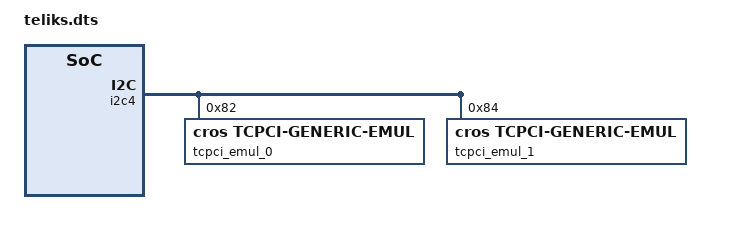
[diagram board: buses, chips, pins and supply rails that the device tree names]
/* Copyright 2024 The ChromiumOS Authors
 * Use of this source code is governed by a BSD-style license that can be
 * found in the LICENSE file.
 */

#include <it8xxx2_emul.dts>

#include "../program/nissa/cbi.dtsi"
#include "../program/nissa/teliks/cbi.dtsi"
#include "../program/nissa/teliks/motionsense.dtsi"

/ {
	named-gpios {
		compatible = "named-gpios";

		gpio_ec_entering_rw: ec_entering_rw {
			gpios = <&gpioc 7 GPIO_OUTPUT>;
			enum-name = "GPIO_ENTERING_RW";
		};
		gpio_en_usb_c0_cc1_vconn: en_usb_c0_cc1_vconn {
			gpios = <&gpioh 4 GPIO_OUTPUT>;
		};
		gpio_en_usb_c0_cc2_vconn: en_usb_c0_cc2_vconn {
			gpios = <&gpioh 6 GPIO_OUTPUT>;
		};
		gpio_usb_c0_int_odl: usb_c0_int_odl {
			gpios = <&gpiok 0 GPIO_INPUT_PULL_UP>;
		};
		gpio_imu_int_l: imu_int_l {
			gpios = <&gpioj 0 GPIO_INPUT>;
		};
		gpio_acc_int_l: acc_int_l {
			gpios = <&gpioc 0 GPIO_INPUT>;
		};
		gpio_tablet_mode_l: tablet_mode_l {
			gpios = <&gpioa 7 GPIO_INPUT>;
			enum-name = "GPIO_TABLET_MODE_L";
		};
		gpio_ec_battery_pres_odl: ec_battery_pres_odl {
			gpios = <&gpiol 5 GPIO_INPUT>;
			enum-name = "GPIO_BATT_PRES_ODL";
		};
	};

	gpio-interrupts {
		compatible = "cros-ec,gpio-interrupts";

		int_tablet_mode: tablet_mode {
			irq-pin = <&gpio_tablet_mode_l>;
			flags = <GPIO_INT_EDGE_BOTH>;
			handler = "gmr_tablet_switch_isr";
		};
		int_imu: ec_imu {
			irq-pin = <&gpio_imu_int_l>;
			flags = <GPIO_INT_EDGE_FALLING>;
			handler = "motion_interrupt";
		};
		int_lid_imu: lid_imu {
			irq-pin = <&gpio_acc_int_l>;
			flags = <GPIO_INT_EDGE_FALLING>;
			handler = "lid_accel_interrupt";
		};
	};

	named-i2c-ports {
		compatible = "named-i2c-ports";

		i2c_ec_i2c_sensor: ec_i2c_sensor {
			i2c-port = <&i2c0>;
			enum-names = "I2C_PORT_SENSOR";
		};
		i2c_ec_i2c_batt: ec_i2c_batt {
			i2c-port = <&i2c1>;
			enum-names = "I2C_PORT_BATTERY";
		};
	};

	usbc {
		#address-cells = <1>;
		#size-cells = <0>;
		port0@0 {
			compatible = "named-usbc-port";
			reg = <0>;
			tcpc = <&tcpci_emul_0>;
			usb-mux-chain-0 {
				compatible = "cros-ec,usb-mux-chain";
				usb-muxes = <&virtual_mux_0>;
			};
		};
		port1@1 {
			compatible = "named-usbc-port";
			reg = <1>;
			tcpc = <&tcpci_emul_1>;
			usb-mux-chain-1 {
				compatible = "cros-ec,usb-mux-chain";
				usb-muxes = <&virtual_mux_1>;
			};
		};
		port0-muxes {
			virtual_mux_0: virtual-mux-0 {
				compatible = "cros-ec,usbc-mux-virtual";
			};
		};
		port1-muxes {
			virtual_mux_1: virtual-mux-1 {
				compatible = "cros-ec,usbc-mux-virtual";
			};
		};
	};
};

&i2c4 {
	tcpci_emul_0: tcpci_emul@82 {
		compatible = "cros,tcpci-generic-emul";
		status = "okay";
		reg = <0x82>;
	};
};

&i2c4 {
	tcpci_emul_1: tcpci_emul@84 {
		compatible = "cros,tcpci-generic-emul";
		status = "okay";
		reg = <0x84>;
	};
};
